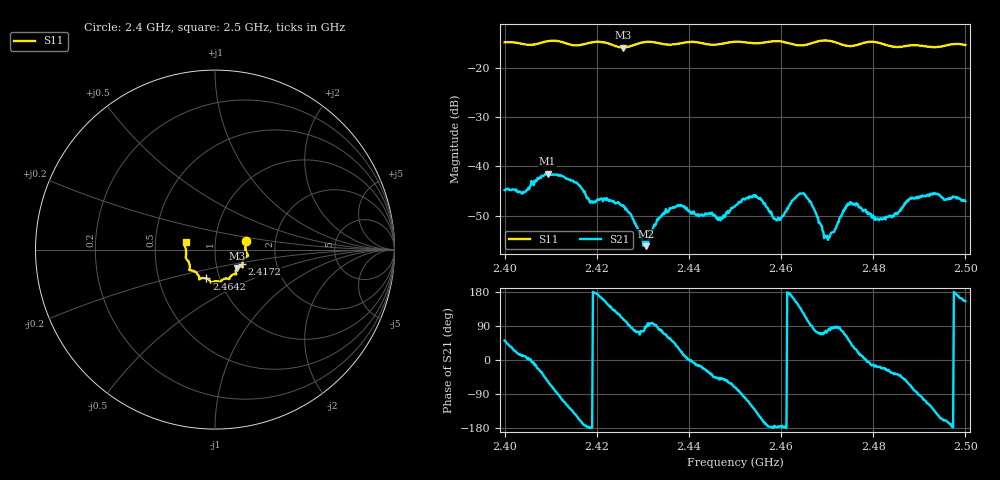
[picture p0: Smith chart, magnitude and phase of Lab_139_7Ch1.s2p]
# Hz S RI R 50
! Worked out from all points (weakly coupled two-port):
!   601 points, 2.4 GHz to 2.5 GHz, reference 50 ohm
!   highest |S21| = -41.50 dB at 2.4093 GHz (marker M1); lowest = -56.2 dB at 2.4307 GHz (marker M2)
!   lowest |S11| = -15.9 dB at 2.4257 GHz (marker M3), VSWR 1.38, Z = 62.4 - j13.1 ohm
!   |S11| at or under -10 dB: start of sweep to end of sweep
!   S12 and S22 are empty: the file has one direction only
!   S11 on the Smith chart (normalised r, x): 2.4 GHz: 1.41, +0.14; 2.4172 GHz: 1.34, -0.22; 2.4642 GHz: 0.86, -0.29; 2.5 GHz: 0.72, +0.06
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2.4e9  0.1737 0.0493  0.00359 0.00447  0 0  0 0
2.404167e9  0.1713 0.0231  0.00532 0.000987  0 0  0 0
2.409333e9  0.1829 -0.03  0.00469 -0.00698  0 0  0 0
2.416667e9  0.1524 -0.075  -0.00573 -0.00182  0 0  0 0
2.417167e9  0.152 -0.0806  -0.00543 -0.000829  0 0  0 0
2.419e9  0.1535 -0.095  -0.0044 -0.000141  0 0  0 0
2.425667e9  0.1224 -0.1025  -0.00133 0.0038  0 0  0 0
2.430667e9  0.1187 -0.1378  0.0001 0.00155  0 0  0 0
2.433333e9  0.1128 -0.1367  0.000311 0.00283  0 0  0 0
2.437833e9  0.0834 -0.1537  0.00355 0.00194  0 0  0 0
2.446833e9  0.0414 -0.1683  0.00189 -0.00209  0 0  0 0
2.45e9  0.0296 -0.1805  0.0012 -0.00372  0 0  0 0
2.4545e9  0.00595 -0.1761  -0.00358 -0.00361  0 0  0 0
2.459333e9  -0.0226 -0.1839  -0.00297 -0.000235  0 0  0 0
2.464167e9  -0.0482 -0.1609  -0.00392 0.00357  0 0  0 0
2.466667e9  -0.0762 -0.1595  -2.39e-05 0.00408  0 0  0 0
2.469833e9  -0.0877 -0.1667  0.000591 0.00181  0 0  0 0
2.474833e9  -0.1048 -0.1279  0.00261 0.00314  0 0  0 0
2.483333e9  -0.1405 -0.0895  0.00278 -0.00133  0 0  0 0
2.488e9  -0.1601 -0.051  0.00185 -0.0043  0 0  0 0
2.492833e9  -0.1604 -0.0157  -0.00312 -0.0041  0 0  0 0
2.5e9  -0.1638 0.0419  -0.004 0.00185  0 0  0 0
